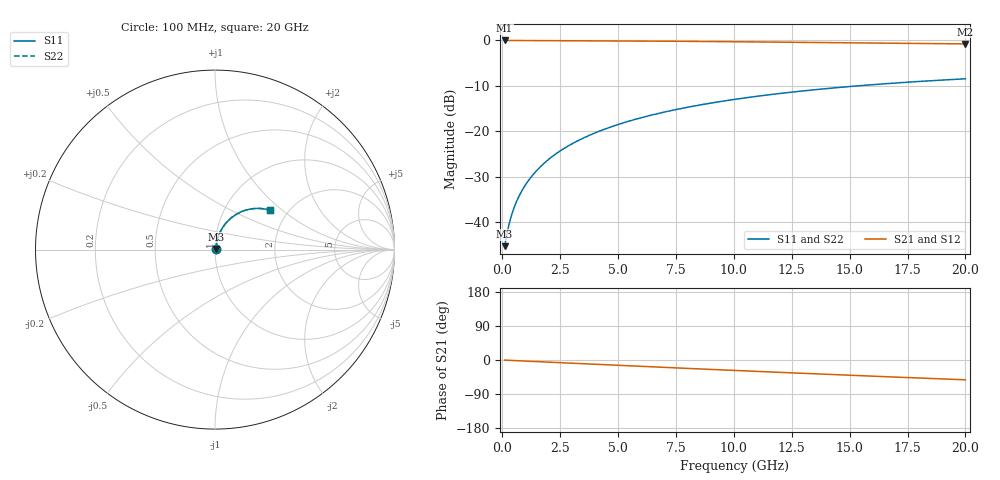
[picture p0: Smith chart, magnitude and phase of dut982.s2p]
! Touchstone file exported from HFSS 2026.1.0
!  File:  C:/ffzhzh/LocalFiles/Ansys_Project_Files/temp_train_TMRDL_982_1783159221_18472.aedt
!  Generated:  06:01:29 PM Jul  4, 2026
!  Design:  TMRDL
!  Project:  temp_train_TMRDL_982_1783159221_18472
! Variables:
!  h_bsmrdl = 2um
!  h_ox = 20um
!  h_rdl = 5um
!  h_sub = 80um
!  h_tmrdl = 2.86um
!  h_tsv = 80um
!  h_via = 3um
!  l_bsmrdl = 300um
!  l_sub = 1231.89um
!  l_tmrdl = 831.89um
!  m_sub = 200um
!  pitch = 42.18um
!  r_tsv = 6um
!  s_tmrdl = 10um
!  w_bsmrdl = 18um
!  w_sub = 500um
!  w_tmrdl = 23.49um
!  x_tsv_center1 = 843.635um
!  x_tsv_center2 = 1161.635um
!  x_tsv_center3 = 2017.015um
!  x_tsv_center4 = 2335.015um
!  x_tsv_center5 = 3190.395um
!  x_tsv_center6 = 3508.395um
# GHz S MA R 50.000000
! Terminal data exported
! Port[1] = TM_RDL1_1_T1
! Port[2] = TM_RDL1_1_T2
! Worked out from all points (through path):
!   200 points, 100 MHz to 20 GHz, reference 50 ohm
!   highest |S21| = -0.04 dB at 100 MHz (marker M1); lowest = -0.8 dB at 20 GHz (marker M2)
!   group delay of S21, straight-line fit = 7.27 ps
!   lowest |S11| = -45.3 dB at 100 MHz (marker M3), VSWR 1.01, Z = 50.5 + j0.282 ohm
!   |S11| at or under -10 dB: start of sweep to 15.44 GHz
!   |S22| runs from -45.3 to -8.5 dB; largest |S21 - S12| = 3.5e-15
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0.1  0.005406 31.1  0.9954 -0.3  0.9954 -0.3  0.005406 31.1
! Gamma 0 0 0 0
! Port Impedance 50 0 50 0
0.2  0.007351 48.2  0.9951 -0.6  0.9951 -0.6  0.007351 48.2
0.3  0.009597 56.9  0.9948 -0.9  0.9948 -0.9  0.009597 56.9
0.4  0.01188 61.9  0.9946 -1.2  0.9946 -1.2  0.01189 61.9
0.5  0.01416 65.2  0.9943 -1.5  0.9943 -1.5  0.01416 65.2
0.6  0.01643 67.7  0.9941 -1.7  0.9941 -1.7  0.01643 67.7
0.8  0.02097 71.0  0.9938 -2.3  0.9938 -2.3  0.02097 71.0
1.1  0.02784 73.8  0.9934 -3.1  0.9934 -3.1  0.02785 73.8
1.3  0.03247 75.0  0.9931 -3.7  0.9931 -3.7  0.03247 75.0
1.6  0.03945 76.0  0.9928 -4.5  0.9928 -4.5  0.03946 76.0
2.1  0.05116 76.5  0.9921 -5.9  0.9921 -5.9  0.05116 76.5
2.7  0.06521 76.3  0.991 -7.6  0.991 -7.6  0.06521 76.3
3.5  0.08383 75.2  0.9892 -9.9  0.9892 -9.9  0.08384 75.2
4.2  0.09996 73.8  0.9874 -11.8  0.9874 -11.8  0.09996 73.8
5  0.1181 72.1  0.985 -14.0  0.985 -14.0  0.1181 72.1
5.9  0.1382 70.0  0.9819 -16.5  0.9819 -16.5  0.1382 70.0
6.8  0.1577 67.8  0.9784 -18.9  0.9784 -18.9  0.1577 67.7
8.3  0.1892 64.0  0.9719 -23.0  0.9719 -23.0  0.1892 64.0
10.1  0.2248 59.5  0.9633 -27.7  0.9633 -27.7  0.2248 59.4
13.4  0.2839 51.3  0.9462 -36.2  0.9462 -36.2  0.2839 51.2
16.7  0.3345 43.3  0.9287 -44.4  0.9287 -44.4  0.3346 43.3
20  0.3765 35.7  0.912 -52.3  0.912 -52.3  0.3766 35.6
